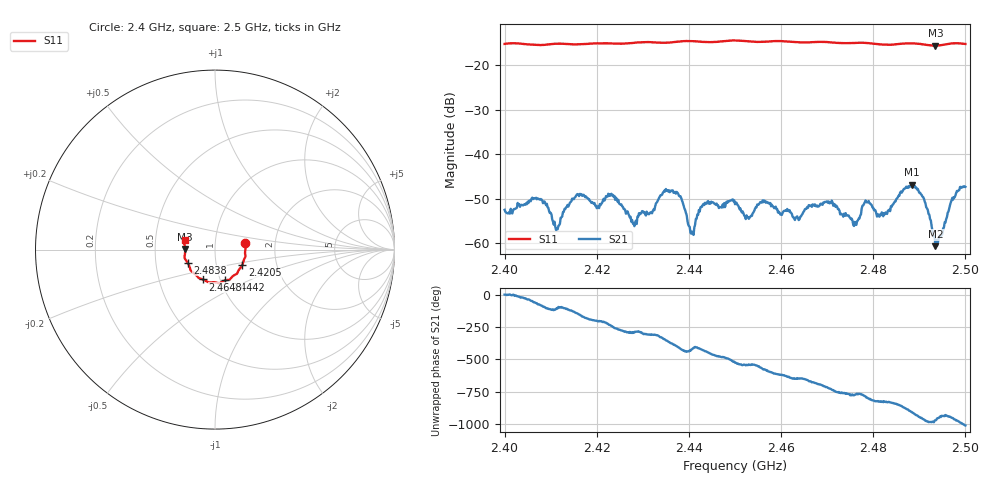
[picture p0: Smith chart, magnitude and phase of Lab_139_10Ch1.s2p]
# Hz S RI R 50
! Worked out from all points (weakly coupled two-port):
!   601 points, 2.4 GHz to 2.5 GHz, reference 50 ohm
!   highest |S21| = -46.86 dB at 2.4883 GHz (marker M1); lowest = -60.7 dB at 2.4935 GHz (marker M2)
!   lowest |S11| = -15.6 dB at 2.4935 GHz (marker M3), VSWR 1.40, Z = 35.8 + j0.139 ohm
!   |S11| at or under -10 dB: start of sweep to end of sweep
!   S12 and S22 are empty: the file has one direction only
!   S11 on the Smith chart (normalised r, x): 2.4 GHz: 1.40, +0.11; 2.4205 GHz: 1.33, -0.24; 2.4442 GHz: 1.05, -0.37; 2.4648 GHz: 0.83, -0.28; 2.4838 GHz: 0.73, -0.11; 2.5 GHz: 0.71, +0.08
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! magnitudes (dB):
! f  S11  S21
! 2.4 GHz  -15.2  -52.5
! 2.4077 GHz  -15.5  -50.2
! 2.4115 GHz  -15.2  -56.9
! 2.4167 GHz  -15.3  -49.0
! 2.4205 GHz  -15.1  -52.1
! 2.4233 GHz  -15.1  -49.2
! 2.4282 GHz  -15.0  -56.2
! 2.4333 GHz  -15.0  -50.2
! 2.4378 GHz  -14.7  -49.4
! 2.4407 GHz  -14.6  -57.4
! 2.4442 GHz  -14.8  -50.5
! 2.45 GHz  -14.5  -51.2
! 2.4648 GHz  -14.9  -53.0
! 2.4667 GHz  -14.9  -51.8
! 2.476 GHz  -15.0  -55.2
! 2.4785 GHz  -15.0  -50.7
! 2.4833 GHz  -15.5  -52.6
! 2.4838 GHz  -15.4  -51.7
! 2.4883 GHz  -15.1  -46.9
! 2.4908 GHz  -15.4  -49.6
! 2.4935 GHz  -15.6  -60.7
! 2.5 GHz  -15.3  -47.3
